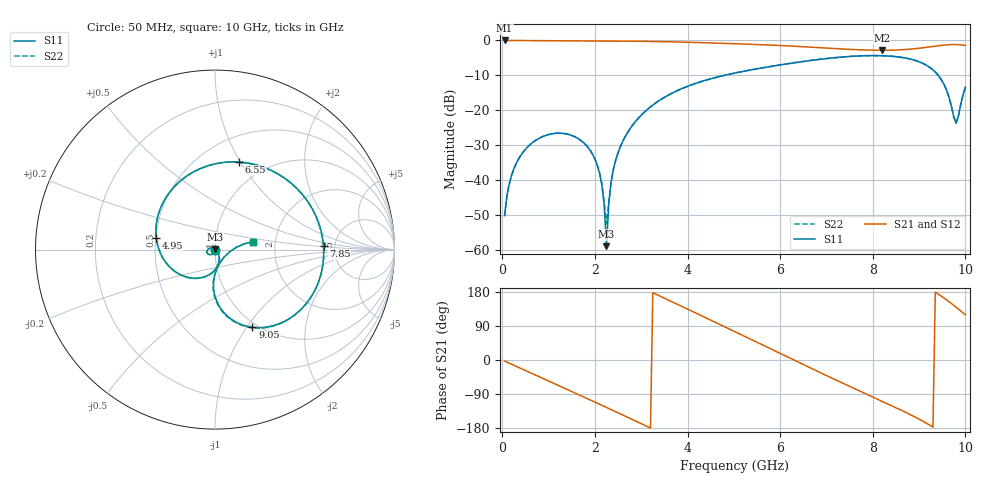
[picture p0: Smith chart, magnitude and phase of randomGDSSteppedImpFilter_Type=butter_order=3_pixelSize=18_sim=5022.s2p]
! freq	dB(S11)	phase(S11)	dB(S12)	phase(S12)
!  dB(S21)	phase(S21)	dB(S22)	phase(S22)
!S-par simulation data
#  GHz  S  DB  R 50
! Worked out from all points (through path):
!   200 points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, 50 MHz to 10 GHz, reference 50 ohm
!   highest |S21| = -0.01 dB at 50 MHz (marker M1); lowest = -2.8 dB at 8.2 GHz (marker M2)
!   group delay of S21, straight-line fit = 162 ps
!   lowest |S11| = -58.9 dB at 2.25 GHz (marker M3), VSWR 1.00, Z = 50 + j0.107 ohm
!   |S11| at or under -10 dB: start of sweep to 4.791 GHz; 9.413 GHz to end of sweep
!   |S22| runs from -52.5 to -4.3 dB; largest |S21 - S12| = 0
!   S11 on the Smith chart (normalised r, x): 50 MHz: 1.00, -0.01; 4.95 GHz: 0.50, +0.07; 6.55 GHz: 0.75, +0.99; 7.85 GHz: 4.05, +0.24; 9.05 GHz: 0.95, -1.06; 10 GHz: 1.53, +0.14
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0.05  -50.13 -83.9  -0.01 -2.8  -0.01 -2.8  -50.13 -84.0
0.25  -36.74 -102.3  -0.02 -13.9  -0.02 -13.9  -36.74 -102.4
0.6  -29.81 -123.4  -0.05 -33.3  -0.05 -33.3  -29.81 -123.7
1.75  -29.18 171.7  -0.12 -97.1  -0.12 -97.1  -29.18 169.4
2.1  -37.95 151.8  -0.14 -116.8  -0.14 -116.8  -37.86 143.7
2.2  -47.05 145.3  -0.14 -122.4  -0.14 -122.4  -46.22 120.9
2.25  -58.87 70.0  -0.15 -125.2  -0.15 -125.2  -52.51 55.2
2.35  -40.57 -41.2  -0.16 -130.9  -0.16 -130.9  -40.33 -28.6
2.5  -32.12 -50.1  -0.17 -139.4  -0.17 -139.4  -32.07 -44.9
3.4  -17.11 -101.7  -0.33 169.0  -0.33 169.0  -17.11 -100.6
4.25  -11.96 -150.8  -0.61 119.8  -0.61 119.8  -11.96 -150.4
4.95  -9.53 168.6  -0.91 79.0  -0.91 79.0  -9.53 168.5
5.05  -9.25 162.7  -0.95 73.2  -0.95 73.2  -9.25 162.7
6.55  -5.92 74.7  -1.83 -14.9  -1.83 -14.9  -5.92 74.1
6.7  -5.66 66.1  -1.95 -23.7  -1.95 -23.7  -5.66 65.4
7.85  -4.37 1.8  -2.75 -89.1  -2.75 -89.1  -4.37 1.1
8.2  -4.37 -17.1  -2.82 -108.7  -2.82 -108.7  -4.38 -17.8
8.35  -4.47 -25.2  -2.80 -117.1  -2.80 -117.1  -4.47 -25.8
9.05  -6.37 -64.3  -2.16 -159.4  -2.16 -159.4  -6.37 -64.9
9.5  -11.66 -90.0  -1.39 166.8  -1.39 166.8  -11.67 -90.7
9.8  -23.60 -39.0  -1.17 139.3  -1.17 139.3  -23.71 -39.5
10  -13.36 11.7  -1.43 119.1  -1.43 119.1  -13.37 11.4
